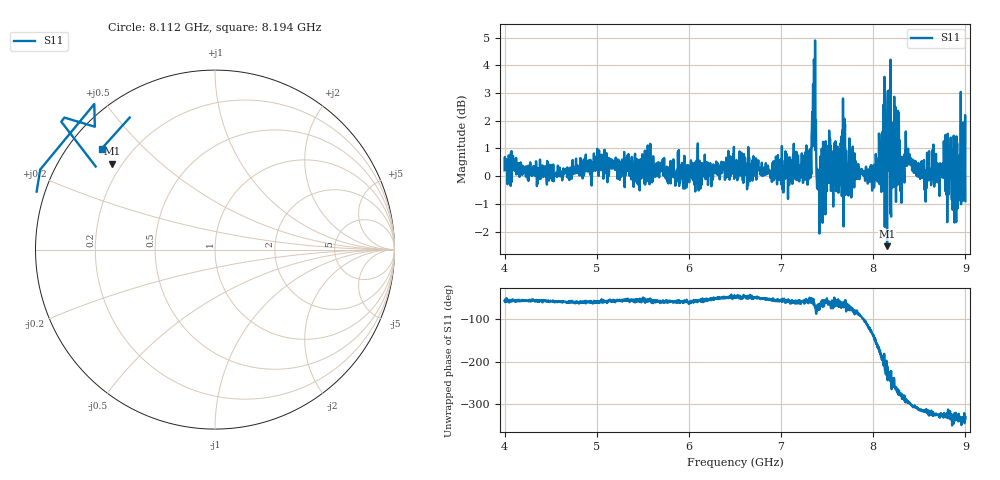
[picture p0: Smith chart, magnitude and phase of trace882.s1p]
! Created with skrf 1.8.0 (http://scikit-rf.org).
# Hz S RI R 50.0
!freq ReS11 ImS11
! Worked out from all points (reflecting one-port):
!   1601 points, 4 GHz to 9 GHz, reference 50 ohm
!   lowest |S11| = -2.5 dB at 8.15 GHz (marker M1), VSWR 6.93, Z = 8.15 + j17.7 ohm
!   phase of S11 starts at -58 deg and turns -272 deg over the sweep
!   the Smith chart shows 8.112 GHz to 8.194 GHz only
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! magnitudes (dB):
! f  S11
! 4 GHz  0.2
! 4.625 GHz  -0.1
! 5.25 GHz  -0.1
! 5.875 GHz  0.2
! 6.5 GHz  0.2
! 7.125 GHz  0.2
! 7.303 GHz  0.6
! 7.356 GHz  4.2
! 7.4 GHz  -0.1
! 7.412 GHz  -0.2
! 7.509 GHz  0.1
! 7.619 GHz  1.0
! 7.669 GHz  1.3
! 7.75 GHz  0.1
! 8 GHz  0.2
! 8.066 GHz  1.1
! 8.097 GHz  0.7
! 8.15 GHz  -2.5
! 8.178 GHz  2.9
! 8.209 GHz  1.0
! 8.253 GHz  0.7
! 8.312 GHz  0.6
! 8.375 GHz  0.7
! 8.556 GHz  -0.5
! 8.662 GHz  -0.4
! 8.875 GHz  1.4
! 8.972 GHz  0.7
! 9 GHz  -0.9
